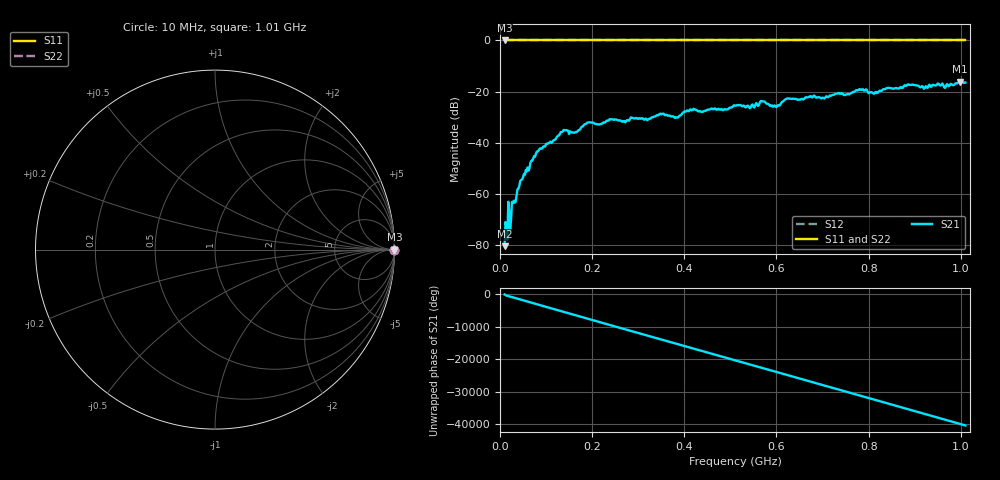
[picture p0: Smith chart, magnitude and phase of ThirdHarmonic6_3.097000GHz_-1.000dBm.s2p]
! 8/17/2025 9:07:38 AM
! C:\ANRITSUVNA\TEMP\TEMP.S2P
! CHANNEL.1
! TR.MEASUREMENT
! RAW.DATA
! RF.CORRECTION.OFF
! AVERAGING.OFF
! IF.BANDWIDTH: 5KHZ
! SWEEPTYPE:  FREQ.SWEEP(Linear)
! Reference Plane Port Info
! PORT:  PORT1  PORT2
! DISTANCE:  0  m  0  m
! TIME:  0  s  0  s
! PHASE.OFFSET:  0  deg.  0  deg.
! LOSS:  0  dB  0  dB
! REF.LOSS:  0  dB  0  dB
! REF.FREQ:  0  Hz  0  Hz
! Power Info
! POWER:  -20  dBm  -20  dBm
! EFF.POWER:  -20  dBm  -20  dBm
! SOURCE.ATTEN:  0  dB  0  dB
! TEST.ATTEN:  0  dB  0  dB
# GHZ S RI R 50.0
! FREQ.GHZ  S11RE  S11IM  S21RE  S21IM  S12RE  S12IM  S22RE  S22IM
!; PortSelection: Port_12
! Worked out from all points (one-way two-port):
!   501 points, 10 MHz to 1.01 GHz, reference 50 ohm
!   highest |S21| = -16.12 dB at 998 MHz (marker M1); lowest = -80.5 dB at 10 MHz (marker M2)
!   lowest |S11| = 0.0 dB at 10 MHz (marker M3)
!   |S11| at or under -10 dB: nowhere
!   |S22| runs from 0.0 to 0.0 dB; largest |S21 - S12| = 1.1
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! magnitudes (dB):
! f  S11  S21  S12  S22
! 10 MHz  0.0  -80.5  0.0  0.0
! 12 MHz  0.0  -71.1  0.0  0.0
! 16 MHz  0.0  -78.0  0.0  0.0
! 20 MHz  0.0  -67.3  0.0  0.0
! 22 MHz  0.0  -74.6  0.0  0.0
! 26 MHz  0.0  -63.2  0.0  0.0
! 42 MHz  0.0  -56.9  0.0  0.0
! 82 MHz  0.0  -43.5  0.0  0.0
! 136 MHz  0.0  -35.7  0.0  0.0
! 162 MHz  0.0  -36.1  0.0  0.0
! 178 MHz  0.0  -33.7  0.0  0.0
! 344 MHz  0.0  -29.3  0.0  0.0
! 382 MHz  0.0  -30.1  0.0  0.0
! 416 MHz  0.0  -27.4  0.0  0.0
! 510 MHz  0.0  -25.5  0.0  0.0
! 570 MHz  0.0  -23.9  0.0  0.0
! 596 MHz  0.0  -25.4  0.0  0.0
! 624 MHz  0.0  -22.7  0.0  0.0
! 678 MHz  0.0  -22.3  0.0  0.0
! 844 MHz  0.0  -18.6  0.0  0.0
! 998 MHz  0.0  -16.1  0.0  0.0
! 1.01 GHz  0.0  -16.5  0.0  0.0
